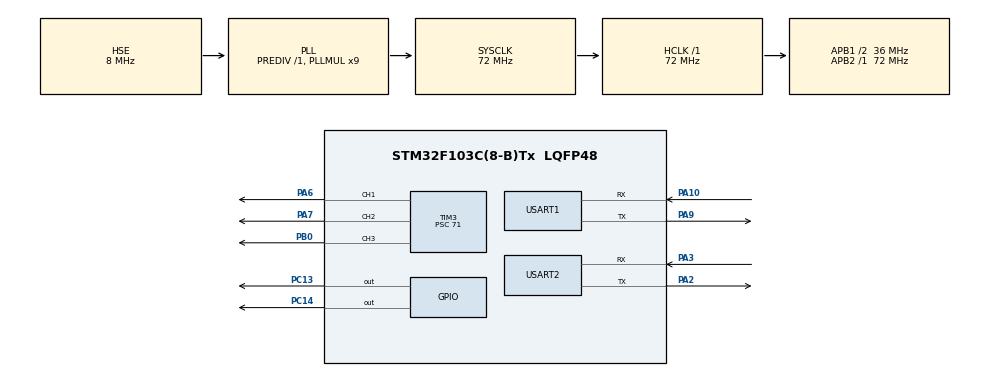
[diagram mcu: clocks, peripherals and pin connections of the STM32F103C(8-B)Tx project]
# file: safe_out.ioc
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Mcu.Family=STM32F1
Mcu.Name=STM32F103C(8-B)Tx
Mcu.Package=LQFP48
NVIC.PriorityGroup=NVIC_PRIORITYGROUP_4
NVIC.TIM4_IRQn=true\:1\:0\:true\:false\:true\:true\:true
NVIC.USART1_IRQn=true\:1\:0\:true\:false\:true\:true\:true
NVIC.USART2_IRQn=true\:0\:0\:false\:false\:true\:true\:true
PA10.Mode=Asynchronous
PA10.Signal=USART1_RX
PA13.Mode=Serial_Wire
PA13.Signal=SYS_JTMS-SWDIO
PA14.Mode=Serial_Wire
PA14.Signal=SYS_JTCK-SWCLK
PA2.Mode=Asynchronous
PA2.Signal=USART2_TX
PA3.Mode=Asynchronous
PA3.Signal=USART2_RX
PA6.Signal=S_TIM3_CH1
PA7.Signal=S_TIM3_CH2
PA9.Mode=Asynchronous
PA9.Signal=USART1_TX
PB0.Signal=S_TIM3_CH3
PC13-TAMPER-RTC.Signal=GPIO_Output
PC14-OSC32_IN.Signal=GPIO_Output
PD0-OSC_IN.Mode=HSE-External-Oscillator
PD0-OSC_IN.Signal=RCC_OSC_IN
PD1-OSC_OUT.Mode=HSE-External-Oscillator
PD1-OSC_OUT.Signal=RCC_OSC_OUT
ProjectManager.HeapSize=0x200
ProjectManager.StackSize=0x400
ProjectManager.TargetToolchain=STM32CubeIDE
RCC.AHBFreq_Value=72000000
RCC.APB1CLKDivider=RCC_HCLK_DIV2
RCC.APB1Freq_Value=36000000
RCC.APB1TimFreq_Value=72000000
RCC.APB2Freq_Value=72000000
RCC.APB2TimFreq_Value=72000000
RCC.HCLKFreq_Value=72000000
RCC.PLLMUL=RCC_PLL_MUL9
RCC.PLLSourceVirtual=RCC_PLLSOURCE_HSE
RCC.SYSCLKFreq_VALUE=72000000
RCC.SYSCLKSource=RCC_SYSCLKSOURCE_PLLCLK
RCC.USBFreq_Value=72000000
SH.S_TIM3_CH1.0=TIM3_CH1,PWM Generation1 CH1
SH.S_TIM3_CH2.0=TIM3_CH2,PWM Generation2 CH2
SH.S_TIM3_CH3.0=TIM3_CH3,PWM Generation3 CH3
TIM3.Channel-PWM\ Generation1\ CH1=TIM_CHANNEL_1
TIM3.Channel-PWM\ Generation2\ CH2=TIM_CHANNEL_2
TIM3.Channel-PWM\ Generation3\ CH3=TIM_CHANNEL_3
TIM3.Prescaler=71
TIM4.AutoReloadPreload=TIM_AUTORELOAD_PRELOAD_ENABLE
TIM4.Prescaler=71
USART1.VirtualMode=VM_ASYNC
USART2.VirtualMode=VM_ASYNC
VP_TIM3_VS_ClockSourceINT.Mode=Internal
VP_TIM4_VS_ClockSourceINT.Mode=Internal
board=custom

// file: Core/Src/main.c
/* USER CODE BEGIN Header */
/**
  ******************************************************************************
  * @file           : main.c
  * @brief          : Main program body
  ******************************************************************************
  * @attention
  *
  * Copyright (c) 2024 STMicroelectronics.
  * All rights reserved.
  *
  * This software is licensed under terms that can be found in the LICENSE file
  * in the root directory of this software component.
  * If no LICENSE file comes with this software, it is provided AS-IS.
  *
  ******************************************************************************
  */
/* USER CODE END Header */
#include "main.h"
#include "tim.h"
#include "usart.h"
#include "gpio.h"

/* USER CODE BEGIN Includes */
#include "../Lib/timer.h"
#include "../Lib/pwm.h"
#include "../Lib/ibus.h"
#include "../Lib/interrupt.h"
#include "../Lib/mavlink_handler.h"
#include "../mavlink/common/mavlink.h"
/* USER CODE END Includes */

/* USER CODE BEGIN PV */
uint16_t thortle = 1000;
int16_t servoL = 1500;
int16_t servoR = 1500;

int constrain(int val,int min,int max);
/* USER CODE END PV */

void SystemClock_Config(void);

/* USER CODE BEGIN 0 */
extern mavlink_rc_channels_raw_t rc_channels_raw;
int16_t roll_trim_manual,pitch_trim_manual;
uint8_t trim_state = 1;
/* USER CODE END 0 */

int main(void)
{

  /* MCU Configuration--------------------------------------------------------*/

  /* Reset of all peripherals, Initializes the Flash interface and the Systick. */
  HAL_Init();

  /* Configure the system clock */
  SystemClock_Config();

  /* Initialize all configured peripherals */
  MX_GPIO_Init();
  MX_TIM3_Init();
  MX_USART1_UART_Init();
  MX_USART2_UART_Init();
  MX_TIM4_Init();
  /* USER CODE BEGIN 2 */
  static uint32_t last_ms = 0;
  static int count;
  HAL_Delay(3000);
  timer_start(&htim4);
  initPWM(&htim3);
  ibus_init(&huart1);
  mavlink_init(&huart2);

  /* USER CODE END 2 */

  /* Infinite loop */
  while (1)
  {

    /* USER CODE BEGIN 3 */
	  ibusFrameComplete();
      int16_t roll_trim = ((int)ibusChannelData[CH8] - 1500);
      int16_t pitch_trim = ((int)ibusChannelData[CH7] - 1500);
      if(trim_state){
    	  roll_trim_manual = roll_trim;
    	  pitch_trim_manual = pitch_trim;
      }
      if(ibusChannelData[CH5] > 1600){
    	  trim_state = 0;
      }
	  if(mavlink_check_fc_healthy()){
    	  thortle = rc_channels_raw.chan3_raw;
    	  servoL =  rc_channels_raw.chan1_raw;
    	  servoR =  rc_channels_raw.chan2_raw;
      }else{

    	  count ++;
    	  if(count > 100){
    		  HAL_GPIO_TogglePin(GPIOC, GPIO_PIN_13);
    		  count = 0;
    	  }

          int s1 = 1500 - ibusChannelData[CH1];
          int s2 = 1500 - ibusChannelData[CH2];

          servoL = 1500 - s1 - s2 + roll_trim_manual  + pitch_trim_manual;
          servoR = 1500 + s1 - s2 - roll_trim_manual  + pitch_trim_manual;
          //servoL = 1500 - s1  + pitch_trim_manual;
          //servoR = 1500 + s2  - roll_trim_manual ;
      }

	  servoL = constrain(servoL,1000,2000);
	  servoR = constrain(servoR,1000,2000);
	  write_pwm_ctrl(thortle,servoL,servoR);
	  while(HAL_GetTick() - last_ms < 10);
	  last_ms = HAL_GetTick();
  }
  /* USER CODE END 3 */
}

void SystemClock_Config(void)
{
  RCC_OscInitTypeDef RCC_OscInitStruct = {0};
  RCC_ClkInitTypeDef RCC_ClkInitStruct = {0};

  /** Initializes the RCC Oscillators according to the specified parameters
  * in the RCC_OscInitTypeDef structure.
  */
  RCC_OscInitStruct.OscillatorType = RCC_OSCILLATORTYPE_HSE;
  RCC_OscInitStruct.HSEState = RCC_HSE_ON;
  RCC_OscInitStruct.HSEPredivValue = RCC_HSE_PREDIV_DIV1;
  RCC_OscInitStruct.HSIState = RCC_HSI_ON;
  RCC_OscInitStruct.PLL.PLLState = RCC_PLL_ON;
  RCC_OscInitStruct.PLL.PLLSource = RCC_PLLSOURCE_HSE;
  RCC_OscInitStruct.PLL.PLLMUL = RCC_PLL_MUL9;
  if (HAL_RCC_OscConfig(&RCC_OscInitStruct) != HAL_OK)
  {
    Error_Handler();
  }
  /** Initializes the CPU, AHB and APB buses clocks
  */
  RCC_ClkInitStruct.ClockType = RCC_CLOCKTYPE_HCLK|RCC_CLOCKTYPE_SYSCLK
                              |RCC_CLOCKTYPE_PCLK1|RCC_CLOCKTYPE_PCLK2;
  RCC_ClkInitStruct.SYSCLKSource = RCC_SYSCLKSOURCE_PLLCLK;
  RCC_ClkInitStruct.AHBCLKDivider = RCC_SYSCLK_DIV1;
  RCC_ClkInitStruct.APB1CLKDivider = RCC_HCLK_DIV2;
  RCC_ClkInitStruct.APB2CLKDivider = RCC_HCLK_DIV1;

  if (HAL_RCC_ClockConfig(&RCC_ClkInitStruct, FLASH_LATENCY_2) != HAL_OK)
  {
    Error_Handler();
  }
}

/* USER CODE BEGIN 4 */
int constrain(int val,int min,int max){
	if(val > max)
		val = max;
	else if(val < min)
		val = min;
	return val;
}
/* USER CODE END 4 */

void Error_Handler(void)
{
  __disable_irq();
  while (1)
  {
  }
}
